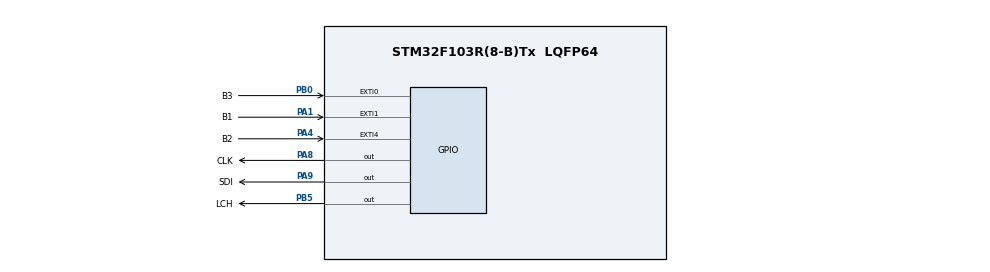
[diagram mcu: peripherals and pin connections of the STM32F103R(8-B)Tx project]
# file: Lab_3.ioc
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Mcu.Family=STM32F1
Mcu.Name=STM32F103R(8-B)Tx
Mcu.Package=LQFP64
NVIC.EXTI0_IRQn=true\:0\:0\:false\:false\:true\:true\:true\:true
NVIC.EXTI1_IRQn=true\:0\:0\:false\:false\:true\:true\:true\:true
NVIC.EXTI4_IRQn=true\:0\:0\:false\:false\:true\:true\:true\:true
NVIC.PriorityGroup=NVIC_PRIORITYGROUP_4
NVIC.TIM3_IRQn=true\:15\:0\:false\:false\:true\:true\:true\:true
PA1.GPIO_Label=B1
PA1.Signal=GPXTI1
PA13.Mode=Serial_Wire
PA13.Signal=SYS_JTMS-SWDIO
PA14.Mode=Serial_Wire
PA14.Signal=SYS_JTCK-SWCLK
PA4.GPIO_Label=B2
PA4.Signal=GPXTI4
PA8.GPIO_Label=CLK
PA8.Signal=GPIO_Output
PA9.GPIO_Label=SDI
PA9.Signal=GPIO_Output
PB0.GPIO_Label=B3
PB0.Signal=GPXTI0
PB5.GPIO_Label=LCH
PB5.Signal=GPIO_Output
PD0-OSC_IN.Mode=HSE-External-Oscillator
PD0-OSC_IN.Signal=RCC_OSC_IN
PD1-OSC_OUT.Mode=HSE-External-Oscillator
PD1-OSC_OUT.Signal=RCC_OSC_OUT
ProjectManager.HeapSize=0x200
ProjectManager.StackSize=0x400
ProjectManager.TargetToolchain=MDK-ARM V5.32
RCC.APB1Freq_Value=8000000
RCC.APB2Freq_Value=8000000
TIM3.Period=100
TIM3.Prescaler=16000
VP_TIM3_VS_ClockSourceINT.Mode=Internal
board=custom

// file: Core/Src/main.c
/* USER CODE BEGIN Header */
/**
  ******************************************************************************
  * @file           : main.c
  * @brief          : Main program body
  ******************************************************************************
  * @attention
  *
  * Copyright (c) 2021 STMicroelectronics.
  * All rights reserved.
  *
  * This software component is licensed by ST under BSD 3-Clause license,
  * the "License"; You may not use this file except in compliance with the
  * License. You may obtain a copy of the License at:
  *                        opensource.org/licenses/BSD-3-Clause
  *
  ******************************************************************************
  */
/* USER CODE END Header */
#include "main.h"

TIM_HandleTypeDef htim3;

void SystemClock_Config(void);
static void MX_GPIO_Init(void);
static void MX_TIM3_Init(void);
/* USER CODE BEGIN PFP */
bool isStarted = false, isGenerated = false;

uint8_t shiftNumber = 0xEF, spaceNumber = 0x00, dotNumber = 0x01;
uint8_t hexDigits[10] = {0xFC, 0x60, 0xDA, 0xF2, 0x66, 0xB6, 0xBE, 0xE0, 0xFE, 0xF6};

uint8_t generatedSize = 20;
int8_t  randomGenerated[28];

int8_t outputDigits[4] = {-1, -1, -1, -1};

uint8_t speedMode = 0, speedCount = 4;
int speedStates[4] = {50000, 25000, 10000, 1000};
/* USER CODE END PFP */

/* USER CODE BEGIN 0 */
void displayPart(uint8_t digit)
{
	uint8_t output;
	for(int i = 0; i < 8; i++)
	{
		output = (digit >> i) % 2;
		HAL_GPIO_WritePin(SDI_GPIO_Port, SDI_Pin, !output);

		HAL_GPIO_WritePin(CLK_GPIO_Port, CLK_Pin, GPIO_PIN_RESET);
		HAL_GPIO_WritePin(CLK_GPIO_Port, CLK_Pin, GPIO_PIN_SET);
	}
}

void displayString(int8_t digits[4])
{
	uint8_t digit;
	uint8_t position = 3;
	for(int i = 0; i < 4; i++)
	{
		if(isGenerated)
		{
			digit = digits[i] != -1 ? hexDigits[digits[i]] : spaceNumber;
		}
		else
		{
			digit = digit == dotNumber ? spaceNumber : dotNumber;
			HAL_Delay(250);
		}

		HAL_GPIO_WritePin(LCH_GPIO_Port, LCH_Pin, GPIO_PIN_RESET);
		displayPart(digit);
		displayPart(shiftNumber << position);
		HAL_GPIO_WritePin(LCH_GPIO_Port, LCH_Pin, GPIO_PIN_SET);

		position--;
	}
}
/* USER CODE END 0 */

int main(void)
{

  /* MCU Configuration--------------------------------------------------------*/

  /* Reset of all peripherals, Initializes the Flash interface and the Systick. */
  HAL_Init();

  /* Configure the system clock */
  SystemClock_Config();

  /* Initialize all configured peripherals */
  MX_GPIO_Init();
  MX_TIM3_Init();
  /* USER CODE BEGIN 2 */
	HAL_TIM_Base_Start_IT(&htim3);
	__HAL_TIM_SET_PRESCALER(&htim3, speedStates[speedMode]);
	HAL_TIM_Base_Stop(&htim3);
  /* USER CODE END 2 */

  /* Infinite loop */
  while (1)
  {
		displayString(outputDigits);
  }
}

void SystemClock_Config(void)
{
  RCC_OscInitTypeDef RCC_OscInitStruct = {0};
  RCC_ClkInitTypeDef RCC_ClkInitStruct = {0};

  /** Initializes the RCC Oscillators according to the specified parameters
  * in the RCC_OscInitTypeDef structure.
  */
  RCC_OscInitStruct.OscillatorType = RCC_OSCILLATORTYPE_HSI;
  RCC_OscInitStruct.HSIState = RCC_HSI_ON;
  RCC_OscInitStruct.HSICalibrationValue = RCC_HSICALIBRATION_DEFAULT;
  RCC_OscInitStruct.PLL.PLLState = RCC_PLL_NONE;
  if (HAL_RCC_OscConfig(&RCC_OscInitStruct) != HAL_OK)
  {
    Error_Handler();
  }
  /** Initializes the CPU, AHB and APB buses clocks
  */
  RCC_ClkInitStruct.ClockType = RCC_CLOCKTYPE_HCLK|RCC_CLOCKTYPE_SYSCLK
                              |RCC_CLOCKTYPE_PCLK1|RCC_CLOCKTYPE_PCLK2;
  RCC_ClkInitStruct.SYSCLKSource = RCC_SYSCLKSOURCE_HSI;
  RCC_ClkInitStruct.AHBCLKDivider = RCC_SYSCLK_DIV1;
  RCC_ClkInitStruct.APB1CLKDivider = RCC_HCLK_DIV1;
  RCC_ClkInitStruct.APB2CLKDivider = RCC_HCLK_DIV1;

  if (HAL_RCC_ClockConfig(&RCC_ClkInitStruct, FLASH_LATENCY_0) != HAL_OK)
  {
    Error_Handler();
  }
}

static void MX_TIM3_Init(void)
{

  TIM_ClockConfigTypeDef sClockSourceConfig = {0};
  TIM_MasterConfigTypeDef sMasterConfig = {0};

  htim3.Instance = TIM3;
  htim3.Init.Prescaler = 16000;
  htim3.Init.CounterMode = TIM_COUNTERMODE_UP;
  htim3.Init.Period = 100;
  htim3.Init.ClockDivision = TIM_CLOCKDIVISION_DIV1;
  htim3.Init.AutoReloadPreload = TIM_AUTORELOAD_PRELOAD_DISABLE;
  if (HAL_TIM_Base_Init(&htim3) != HAL_OK)
  {
    Error_Handler();
  }
  sClockSourceConfig.ClockSource = TIM_CLOCKSOURCE_INTERNAL;
  if (HAL_TIM_ConfigClockSource(&htim3, &sClockSourceConfig) != HAL_OK)
  {
    Error_Handler();
  }
  sMasterConfig.MasterOutputTrigger = TIM_TRGO_RESET;
  sMasterConfig.MasterSlaveMode = TIM_MASTERSLAVEMODE_DISABLE;
  if (HAL_TIMEx_MasterConfigSynchronization(&htim3, &sMasterConfig) != HAL_OK)
  {
    Error_Handler();
  }

}

static void MX_GPIO_Init(void)
{
  GPIO_InitTypeDef GPIO_InitStruct = {0};

  /* GPIO Ports Clock Enable */
  __HAL_RCC_GPIOD_CLK_ENABLE();
  __HAL_RCC_GPIOA_CLK_ENABLE();
  __HAL_RCC_GPIOB_CLK_ENABLE();

  /*Configure GPIO pin Output Level */
  HAL_GPIO_WritePin(GPIOA, CLK_Pin|SDI_Pin, GPIO_PIN_RESET);

  /*Configure GPIO pin Output Level */
  HAL_GPIO_WritePin(LCH_GPIO_Port, LCH_Pin, GPIO_PIN_RESET);

  /*Configure GPIO pins : B1_Pin B2_Pin */
  GPIO_InitStruct.Pin = B1_Pin|B2_Pin;
  GPIO_InitStruct.Mode = GPIO_MODE_IT_RISING;
  GPIO_InitStruct.Pull = GPIO_NOPULL;
  HAL_GPIO_Init(GPIOA, &GPIO_InitStruct);

  /*Configure GPIO pin : B3_Pin */
  GPIO_InitStruct.Pin = B3_Pin;
  GPIO_InitStruct.Mode = GPIO_MODE_IT_RISING;
  GPIO_InitStruct.Pull = GPIO_NOPULL;
  HAL_GPIO_Init(B3_GPIO_Port, &GPIO_InitStruct);

  /*Configure GPIO pins : CLK_Pin SDI_Pin */
  GPIO_InitStruct.Pin = CLK_Pin|SDI_Pin;
  GPIO_InitStruct.Mode = GPIO_MODE_OUTPUT_PP;
  GPIO_InitStruct.Pull = GPIO_NOPULL;
  GPIO_InitStruct.Speed = GPIO_SPEED_FREQ_LOW;
  HAL_GPIO_Init(GPIOA, &GPIO_InitStruct);

  /*Configure GPIO pin : LCH_Pin */
  GPIO_InitStruct.Pin = LCH_Pin;
  GPIO_InitStruct.Mode = GPIO_MODE_OUTPUT_PP;
  GPIO_InitStruct.Pull = GPIO_NOPULL;
  GPIO_InitStruct.Speed = GPIO_SPEED_FREQ_LOW;
  HAL_GPIO_Init(LCH_GPIO_Port, &GPIO_InitStruct);

  /* EXTI interrupt init*/
  HAL_NVIC_SetPriority(EXTI0_IRQn, 0, 0);
  HAL_NVIC_EnableIRQ(EXTI0_IRQn);

  HAL_NVIC_SetPriority(EXTI1_IRQn, 0, 0);
  HAL_NVIC_EnableIRQ(EXTI1_IRQn);

  HAL_NVIC_SetPriority(EXTI4_IRQn, 0, 0);
  HAL_NVIC_EnableIRQ(EXTI4_IRQn);

}

void Error_Handler(void)
{
  __disable_irq();
  while (1)
  {
  }
}

/************************ (C) COPYRIGHT STMicroelectronics *****END OF FILE****/
